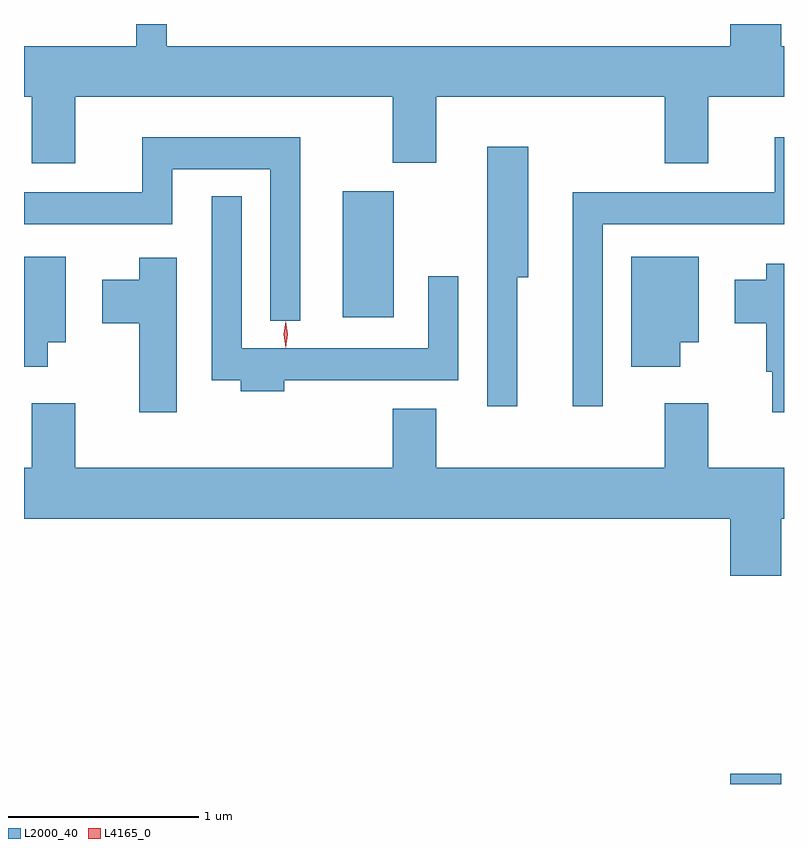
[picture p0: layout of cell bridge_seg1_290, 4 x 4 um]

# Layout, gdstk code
import gdstk
lib = gdstk.Library(unit=1e-6, precision=1e-09)
def R(c, l, rs):  # rectangles x0, y0, x1, y1
    for r in rs: c.add(gdstk.rectangle(r[:2], r[2:], *l))
def P(c, l, *ps):  # polygons
    for p in ps: c.add(gdstk.Polygon(p, *l))
L2000_40 = (2000, 40)
L4165_0 = (4165, 0)

bridge_seg1_290 = lib.new_cell('bridge_seg1_290')
R(bridge_seg1_290, L2000_40, [(874.416,889.3,874.684,889.354), (872.376,891.756,872.644,892.419)])
P(bridge_seg1_290, L2000_40, [(870.969,892.916),(872.641,892.916),(872.641,892.571),(872.869,892.571),(872.869,892.916),(874.071,892.916),(874.071,892.566),(874.299,892.566),(874.299,892.916),(874.699,892.916),(874.699,893.184),(874.684,893.184),(874.684,893.3),(874.416,893.3),(874.416,893.184),(871.449,893.184),(871.449,893.3),(871.291,893.3),(871.291,893.184),(870.699,893.184),(870.699,892.916),(870.741,892.916),(870.741,892.566),(870.969,892.566)],
  [(873.744,892.246),(874.699,892.246),(874.699,892.704),(874.651,892.704),(874.651,892.414),(873.586,892.414),(873.586,891.288),(873.744,891.288)],
  [(872.154,892.704),(871.321,892.704),(871.321,892.414),(870.699,892.414),(870.699,892.246),(871.479,892.246),(871.479,892.536),(871.996,892.536),(871.996,891.738),(872.154,891.738)],
  [(873.294,891.966),(873.354,891.966),(873.354,892.654),(873.136,892.654),(873.136,891.288),(873.294,891.288)],
  [(872.069,891.426),(872.984,891.426),(872.984,891.973),(872.826,891.973),(872.826,891.594),(871.844,891.594),(871.844,892.393),(871.686,892.393),(871.686,891.426),(871.841,891.426),(871.841,891.366),(872.069,891.366)],
  [(874.154,891.626),(874.249,891.626),(874.249,892.074),(873.896,892.074),(873.896,891.496),(874.154,891.496)],
  [(870.824,891.626),(870.919,891.626),(870.919,892.074),(870.699,892.074),(870.699,891.496),(870.824,891.496)],
  [(871.504,892.069),(871.306,892.069),(871.306,891.954),(871.111,891.954),(871.111,891.726),(871.306,891.726),(871.306,891.256),(871.504,891.256)],
  [(874.699,892.039),(874.606,892.039),(874.606,891.954),(874.441,891.954),(874.441,891.726),(874.606,891.726),(874.606,891.471),(874.636,891.471),(874.636,891.256),(874.699,891.256)],
  [(874.684,890.696),(874.699,890.696),(874.699,890.964),(874.299,890.964),(874.299,891.304),(874.071,891.304),(874.071,890.964),(872.869,890.964),(872.869,891.274),(872.641,891.274),(872.641,890.964),(870.969,890.964),(870.969,891.304),(870.741,891.304),(870.741,890.964),(870.699,890.964),(870.699,890.696),(874.416,890.696),(874.416,890.396),(874.684,890.396)])
P(bridge_seg1_290, L4165_0, [(872.077,891.599),(872.076,891.6),(872.067,891.666),(872.076,891.732),(872.076,891.733),(872.077,891.732),(872.086,891.666),(872.077,891.6)],
  [(872.076,891.597),(872.067,891.667),(872.076,891.736),(872.077,891.736),(872.077,891.736),(872.087,891.667),(872.077,891.597),(872.077,891.597)])

lib.write_gds('bridge_seg1_290.gds')
